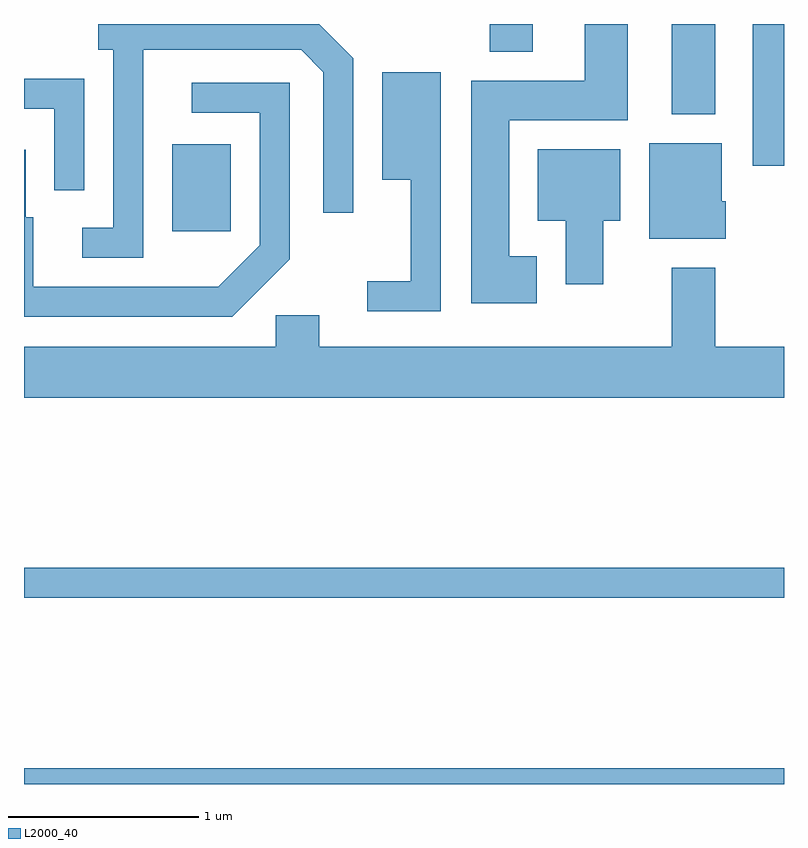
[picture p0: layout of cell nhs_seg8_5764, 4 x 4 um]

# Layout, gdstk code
import gdstk
lib = gdstk.Library(unit=1e-6, precision=1e-09)
def R(c, l, rs):  # rectangles x0, y0, x1, y1
    for r in rs: c.add(gdstk.rectangle(r[:2], r[2:], *l))
def P(c, l, *ps):  # polygons
    for p in ps: c.add(gdstk.Polygon(p, *l))
L2000_40 = (2000, 40)

nhs_seg8_5764 = lib.new_cell('nhs_seg8_5764')
R(nhs_seg8_5764, L2000_40, [(357.611,1874.342,361.611,1874.424), (357.611,1875.321,361.611,1875.479), (358.391,1877.251,358.699,1877.709), (361.446,1877.596,361.611,1878.342), (361.021,1877.866,361.249,1878.342), (360.061,1878.196,360.289,1878.342)])
P(nhs_seg8_5764, L2000_40, [(358.239,1878.206),(359.069,1878.206),(359.186,1878.089),(359.186,1877.348),(359.344,1877.348),(359.344,1878.162),(359.164,1878.342),(358.003,1878.342),(358.003,1878.206),(358.081,1878.206),(358.081,1877.269),(357.918,1877.269),(357.918,1877.111),(358.239,1877.111)],
  [(360.309,1877.119),(360.164,1877.119),(360.164,1877.836),(360.789,1877.836),(360.789,1878.342),(360.561,1878.342),(360.561,1878.044),(359.966,1878.044),(359.966,1876.871),(360.309,1876.871)],
  [(359.804,1878.089),(359.496,1878.089),(359.496,1877.521),(359.646,1877.521),(359.646,1876.989),(359.418,1876.989),(359.418,1876.831),(359.804,1876.831)],
  [(357.929,1878.054),(357.611,1878.054),(357.611,1877.896),(357.771,1877.896),(357.771,1877.468),(357.929,1877.468)],
  [(359.009,1877.104),(359.009,1878.034),(358.493,1878.034),(358.493,1877.876),(358.851,1877.876),(358.851,1877.177),(358.634,1876.959),(357.659,1876.959),(357.659,1877.324),(357.619,1877.324),(357.619,1877.679),(357.611,1877.679),(357.611,1876.801),(358.707,1876.801)],
  [(361.304,1877.409),(361.284,1877.409),(361.284,1877.714),(360.901,1877.714),(360.901,1877.211),(361.304,1877.211)],
  [(360.659,1877.306),(360.749,1877.306),(360.749,1877.684),(360.316,1877.684),(360.316,1877.306),(360.461,1877.306),(360.461,1876.971),(360.659,1876.971)],
  [(361.611,1876.644),(361.249,1876.644),(361.249,1877.059),(361.021,1877.059),(361.021,1876.644),(359.164,1876.644),(359.164,1876.809),(358.936,1876.809),(358.936,1876.644),(357.611,1876.644),(357.611,1876.376),(361.611,1876.376)])

lib.write_gds('nhs_seg8_5764.gds')
